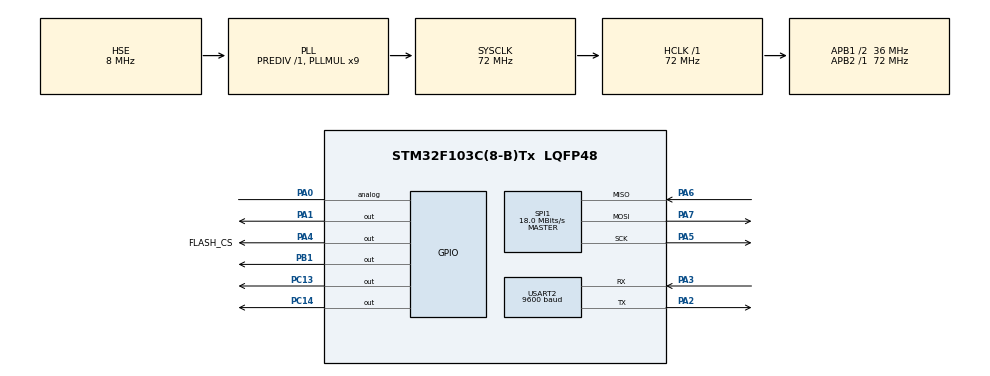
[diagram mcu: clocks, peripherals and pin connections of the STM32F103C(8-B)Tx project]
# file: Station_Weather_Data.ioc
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Mcu.Family=STM32F1
Mcu.Name=STM32F103C(8-B)Tx
Mcu.Package=LQFP48
NVIC.PriorityGroup=NVIC_PRIORITYGROUP_4
NVIC.USART2_IRQn=true\:0\:0\:false\:false\:true\:true
PA0-WKUP.Signal=GPIO_Analog
PA1.Signal=GPIO_Output
PA13.Mode=JTAG_5_pins
PA13.Signal=SYS_JTMS-SWDIO
PA14.Mode=JTAG_5_pins
PA14.Signal=SYS_JTCK-SWCLK
PA15.Mode=JTAG_5_pins
PA15.Signal=SYS_JTDI
PA2.Mode=Asynchronous
PA2.Signal=USART2_TX
PA3.Mode=Asynchronous
PA3.Signal=USART2_RX
PA4.GPIO_Label=FLASH_CS
PA4.Signal=GPIO_Output
PA5.Mode=Full_Duplex_Master
PA5.Signal=SPI1_SCK
PA6.Mode=Full_Duplex_Master
PA6.Signal=SPI1_MISO
PA7.Mode=Full_Duplex_Master
PA7.Signal=SPI1_MOSI
PB1.Signal=GPIO_Output
PB3.Mode=JTAG_5_pins
PB3.Signal=SYS_JTDO-TRACESWO
PB4.Mode=JTAG_5_pins
PB4.Signal=SYS_NJTRST
PC13-TAMPER-RTC.GPIO_ModeDefaultOutputPP=GPIO_MODE_OUTPUT_PP
PC13-TAMPER-RTC.GPIO_PuPd=GPIO_PULLDOWN
PC13-TAMPER-RTC.GPIO_Speed=GPIO_SPEED_FREQ_HIGH
PC13-TAMPER-RTC.PinState=GPIO_PIN_RESET
PC13-TAMPER-RTC.Signal=GPIO_Output
PC14-OSC32_IN.GPIO_ModeDefaultOutputPP=GPIO_MODE_OUTPUT_PP
PC14-OSC32_IN.GPIO_PuPd=GPIO_PULLDOWN
PC14-OSC32_IN.GPIO_Speed=GPIO_SPEED_FREQ_HIGH
PC14-OSC32_IN.PinState=GPIO_PIN_RESET
PC14-OSC32_IN.Signal=GPIO_Output
PD0-OSC_IN.Mode=HSE-External-Oscillator
PD0-OSC_IN.Signal=RCC_OSC_IN
PD1-OSC_OUT.Mode=HSE-External-Oscillator
PD1-OSC_OUT.Signal=RCC_OSC_OUT
ProjectManager.HeapSize=0x200
ProjectManager.StackSize=0x400
ProjectManager.TargetToolchain=MDK-ARM V5
RCC.ADCPresc=RCC_ADCPCLK2_DIV6
RCC.AHBFreq_Value=72000000
RCC.APB1CLKDivider=RCC_HCLK_DIV2
RCC.APB1Freq_Value=36000000
RCC.APB1TimFreq_Value=72000000
RCC.APB2Freq_Value=72000000
RCC.APB2TimFreq_Value=72000000
RCC.HCLKFreq_Value=72000000
RCC.PLLMUL=RCC_PLL_MUL9
RCC.PLLSourceVirtual=RCC_PLLSOURCE_HSE
RCC.SYSCLKFreq_VALUE=72000000
RCC.SYSCLKSource=RCC_SYSCLKSOURCE_PLLCLK
RCC.USBFreq_Value=72000000
SPI1.BaudRatePrescaler=SPI_BAUDRATEPRESCALER_4
SPI1.CalculateBaudRate=18.0 MBits/s
SPI1.Direction=SPI_DIRECTION_2LINES
SPI1.Mode=SPI_MODE_MASTER
SPI1.VirtualType=VM_MASTER
USART2.BaudRate=9600
USART2.VirtualMode=VM_ASYNC
board=custom

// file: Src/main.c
/**
  ******************************************************************************
  * @file           : main.c
  * @brief          : Main program body
  ******************************************************************************
  ** This notice applies to any and all portions of this file
  * that are not between comment pairs USER CODE BEGIN and
  * USER CODE END. Other portions of this file, whether
  * inserted by the user or by software development tools
  * are owned by their respective copyright owners.
  *
  * COPYRIGHT(c) 2019 STMicroelectronics
  *
  * Redistribution and use in source and binary forms, with or without modification,
  * are permitted provided that the following conditions are met:
  *   1. Redistributions of source code must retain the above copyright notice,
  *      this list of conditions and the following disclaimer.
  *   2. Redistributions in binary form must reproduce the above copyright notice,
  *      this list of conditions and the following disclaimer in the documentation
  *      and/or other materials provided with the distribution.
  *   3. Neither the name of STMicroelectronics nor the names of its contributors
  *      may be used to endorse or promote products derived from this software
  *      without specific prior written permission.
  *
  * THIS SOFTWARE IS PROVIDED BY THE COPYRIGHT HOLDERS AND CONTRIBUTORS "AS IS"
  * AND ANY EXPRESS OR IMPLIED WARRANTIES, INCLUDING, BUT NOT LIMITED TO, THE
  * IMPLIED WARRANTIES OF MERCHANTABILITY AND FITNESS FOR A PARTICULAR PURPOSE ARE
  * DISCLAIMED. IN NO EVENT SHALL THE COPYRIGHT HOLDER OR CONTRIBUTORS BE LIABLE
  * FOR ANY DIRECT, INDIRECT, INCIDENTAL, SPECIAL, EXEMPLARY, OR CONSEQUENTIAL
  * DAMAGES (INCLUDING, BUT NOT LIMITED TO, PROCUREMENT OF SUBSTITUTE GOODS OR
  * SERVICES; LOSS OF USE, DATA, OR PROFITS; OR BUSINESS INTERRUPTION) HOWEVER
  * CAUSED AND ON ANY THEORY OF LIABILITY, WHETHER IN CONTRACT, STRICT LIABILITY,
  * OR TORT (INCLUDING NEGLIGENCE OR OTHERWISE) ARISING IN ANY WAY OUT OF THE USE
  * OF THIS SOFTWARE, EVEN IF ADVISED OF THE POSSIBILITY OF SUCH DAMAGE.
  *
  ******************************************************************************
  */
#include "main.h"
#include "stm32f1xx_hal.h"
#include "spi.h"
#include "usart.h"
#include "gpio.h"

/* USER CODE BEGIN Includes */
uint8_t ketqua, check;
uint8_t SMSContent[160], SMSheader[100];

/* USER CODE END Includes */

/* USER CODE BEGIN PV */
/* Private variables ---------------------------------------------------------*/
#include "Sim800.h"
#include "ObitCMDProcess.h"
#include "w25qxx.h"
/* USER CODE END PV */

void SystemClock_Config(void);

/* USER CODE BEGIN PFP */
/* Private function prototypes -----------------------------------------------*/

/* USER CODE END PFP */

/* USER CODE BEGIN 0 */
void HAL_UART_RxCpltCallback(UART_HandleTypeDef *huart)
{
  if(huart->Instance==huart2.Instance)
  {
    Sim800_UartCallBack();
  }
}
/* USER CODE END 0 */

int main(void)
{

  /* MCU Configuration----------------------------------------------------------*/

  /* Reset of all peripherals, Initializes the Flash interface and the Systick. */
  HAL_Init();

  /* Configure the system clock */
  SystemClock_Config();

  /* Initialize all configured peripherals */
  MX_GPIO_Init();
  MX_USART2_UART_Init();
  MX_SPI1_Init();
  /* USER CODE BEGIN 2 */
	//W25qxx_Init();
	HAL_GPIO_WritePin(GPIOA, GPIO_PIN_1,1);
  HAL_UART_Receive_IT(&huart2,&Sim800_DataBuff,1);
	//HAL_GPIO_WritePin(GPIOC, GPIO_PIN_13,1);
	HAL_Delay(1000);
	Sim800L_Init();

	//Sim800_SendAtCommand((uint8_t*)"AT\r\n",4,2000,(uint8_t*)"\r\nOK\r\n",6,1);
	//WaitForString("\r\nOK\r\n",6);
//  if(ketqua==0)
//	{
//		while(1)
//		{
//		HAL_GPIO_TogglePin(GPIOC,GPIO_PIN_13);
//		HAL_Delay(300);
//		}
//	}
  HAL_GPIO_WritePin(GPIOC, GPIO_PIN_13,0);
	Sim800L_SendSMS("Data Logger init done (Obit team)",33,"+84981762826",12);
  /* USER CODE END 2 */

  /* Infinite loop */
  /* USER CODE BEGIN WHILE */
  while (1)
  {

	 if(ketqua!=0)
	 {
		 Sim800_ReadSMS(ketqua, SMSContent, sizeof(SMSContent), SMSheader, sizeof(SMSheader));
		 ObitCMD_Setting(SMSContent, sizeof(SMSContent));
	 }
   ketqua = Sim800_CheckNewSMS();

  /* USER CODE END WHILE */

  }

}

void SystemClock_Config(void)
{

  RCC_OscInitTypeDef RCC_OscInitStruct;
  RCC_ClkInitTypeDef RCC_ClkInitStruct;

    /**Initializes the CPU, AHB and APB busses clocks
    */
  RCC_OscInitStruct.OscillatorType = RCC_OSCILLATORTYPE_HSE;
  RCC_OscInitStruct.HSEState = RCC_HSE_ON;
  RCC_OscInitStruct.HSEPredivValue = RCC_HSE_PREDIV_DIV1;
  RCC_OscInitStruct.HSIState = RCC_HSI_ON;
  RCC_OscInitStruct.PLL.PLLState = RCC_PLL_ON;
  RCC_OscInitStruct.PLL.PLLSource = RCC_PLLSOURCE_HSE;
  RCC_OscInitStruct.PLL.PLLMUL = RCC_PLL_MUL9;
  if (HAL_RCC_OscConfig(&RCC_OscInitStruct) != HAL_OK)
  {
    _Error_Handler(__FILE__, __LINE__);
  }

    /**Initializes the CPU, AHB and APB busses clocks
    */
  RCC_ClkInitStruct.ClockType = RCC_CLOCKTYPE_HCLK|RCC_CLOCKTYPE_SYSCLK
                              |RCC_CLOCKTYPE_PCLK1|RCC_CLOCKTYPE_PCLK2;
  RCC_ClkInitStruct.SYSCLKSource = RCC_SYSCLKSOURCE_PLLCLK;
  RCC_ClkInitStruct.AHBCLKDivider = RCC_SYSCLK_DIV1;
  RCC_ClkInitStruct.APB1CLKDivider = RCC_HCLK_DIV2;
  RCC_ClkInitStruct.APB2CLKDivider = RCC_HCLK_DIV1;

  if (HAL_RCC_ClockConfig(&RCC_ClkInitStruct, FLASH_LATENCY_2) != HAL_OK)
  {
    _Error_Handler(__FILE__, __LINE__);
  }

    /**Configure the Systick interrupt time
    */
  HAL_SYSTICK_Config(HAL_RCC_GetHCLKFreq()/1000);

    /**Configure the Systick
    */
  HAL_SYSTICK_CLKSourceConfig(SYSTICK_CLKSOURCE_HCLK);

  /* SysTick_IRQn interrupt configuration */
  HAL_NVIC_SetPriority(SysTick_IRQn, 0, 0);
}

void _Error_Handler(char *file, int line)
{
  while(1)
  {
  }
}

/************************ (C) COPYRIGHT STMicroelectronics *****END OF FILE****/
